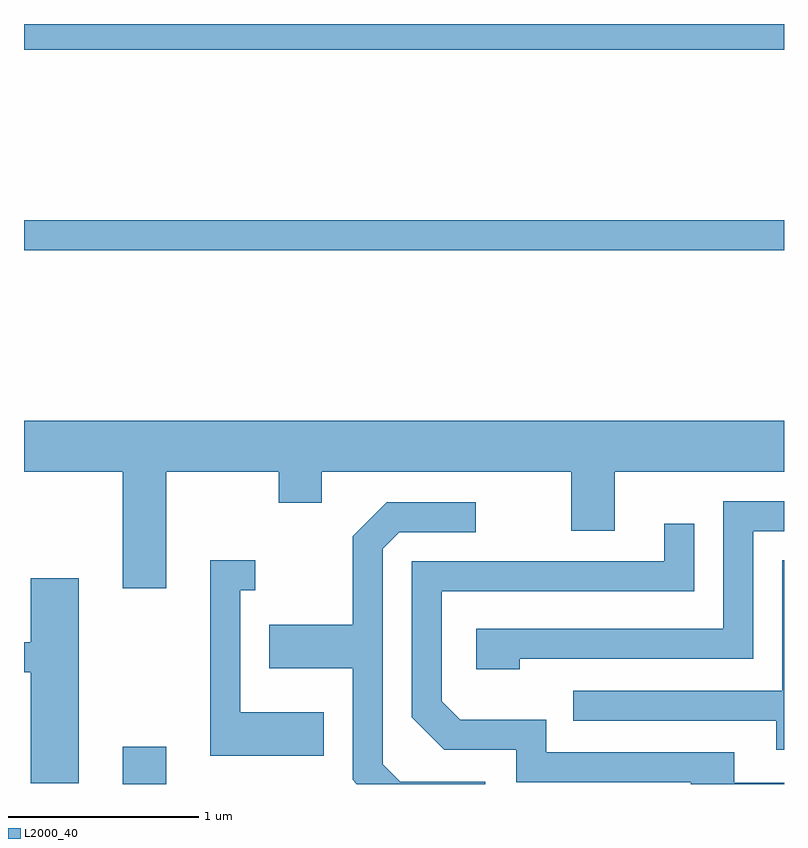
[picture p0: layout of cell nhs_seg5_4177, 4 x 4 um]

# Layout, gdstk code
import gdstk
lib = gdstk.Library(unit=1e-6, precision=1e-09)
def R(c, l, rs):  # rectangles x0, y0, x1, y1
    for r in rs: c.add(gdstk.rectangle(r[:2], r[2:], *l))
def P(c, l, *ps):  # polygons
    for p in ps: c.add(gdstk.Polygon(p, *l))
L2000_40 = (2000, 40)

nhs_seg5_4177 = lib.new_cell('nhs_seg5_4177')
R(nhs_seg5_4177, L2000_40, [(310.131,1424.072,310.359,1424.269), (309.611,1426.881,313.611,1427.039), (309.611,1427.936,313.611,1428.072)])
P(nhs_seg5_4177, L2000_40, [(310.359,1425.716),(310.951,1425.716),(310.951,1425.551),(311.179,1425.551),(311.179,1425.716),(312.491,1425.716),(312.491,1425.406),(312.719,1425.406),(312.719,1425.716),(313.611,1425.716),(313.611,1425.984),(309.611,1425.984),(309.611,1425.716),(310.131,1425.716),(310.131,1425.101),(310.359,1425.101)],
  [(312.219,1424.731),(313.449,1424.731),(313.449,1425.401),(313.611,1425.401),(313.611,1425.559),(313.291,1425.559),(313.291,1424.889),(311.991,1424.889),(311.991,1424.676),(312.219,1424.676)],
  [(312.038,1424.084),(311.592,1424.084),(311.499,1424.177),(311.499,1425.309),(311.587,1425.396),(311.988,1425.396),(311.988,1425.554),(311.519,1425.554),(311.341,1425.377),(311.341,1424.909),(310.901,1424.909),(310.901,1424.681),(311.341,1424.681),(311.341,1424.094),(311.363,1424.072),(312.038,1424.072)],
  [(313.611,1424.079),(313.349,1424.079),(313.349,1424.239),(312.359,1424.239),(312.359,1424.409),(311.907,1424.409),(311.809,1424.507),(311.809,1425.086),(313.139,1425.086),(313.139,1425.443),(312.981,1425.443),(312.981,1425.244),(311.651,1425.244),(311.651,1424.424),(311.824,1424.251),(312.201,1424.251),(312.201,1424.081),(313.121,1424.081),(313.121,1424.072),(313.611,1424.072)],
  [(313.611,1425.249),(313.601,1425.249),(313.601,1424.564),(312.503,1424.564),(312.503,1424.406),(313.571,1424.406),(313.571,1424.251),(313.611,1424.251)],
  [(311.189,1424.449),(310.749,1424.449),(310.749,1425.091),(310.828,1425.091),(310.828,1425.249),(310.591,1425.249),(310.591,1424.221),(311.189,1424.221)],
  [(309.899,1425.154),(309.646,1425.154),(309.646,1424.819),(309.611,1424.819),(309.611,1424.661),(309.646,1424.661),(309.646,1424.076),(309.899,1424.076)])

lib.write_gds('nhs_seg5_4177.gds')
